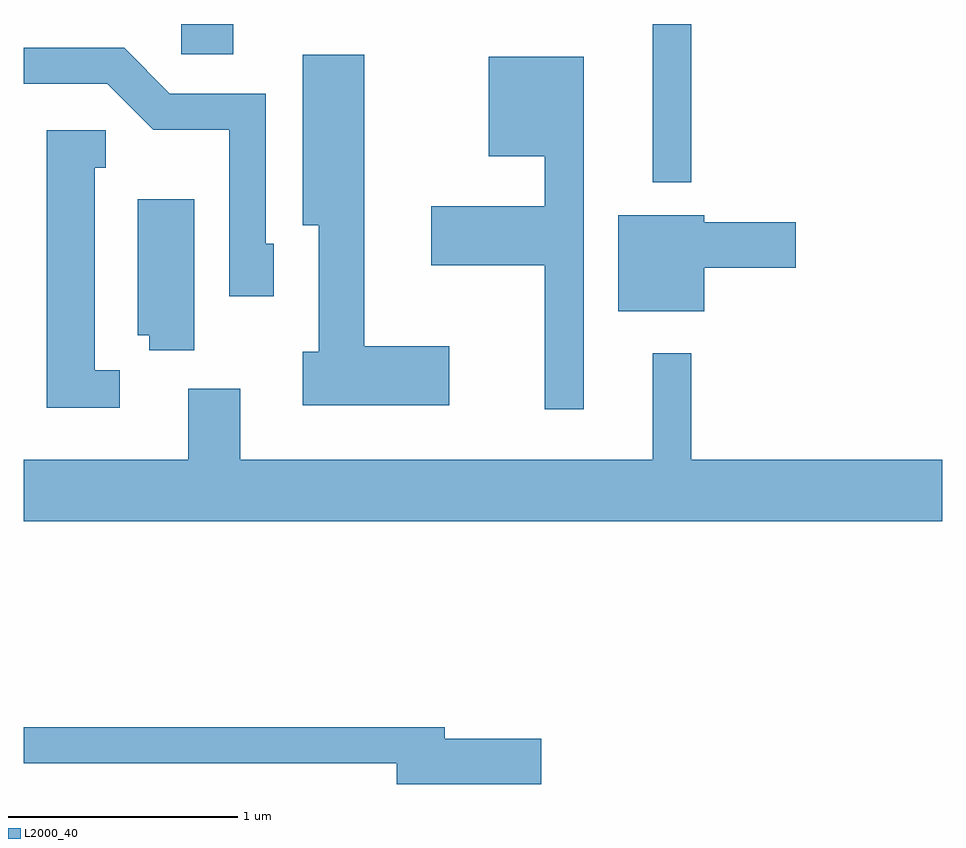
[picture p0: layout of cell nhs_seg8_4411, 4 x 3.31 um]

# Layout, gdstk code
import gdstk
lib = gdstk.Library(unit=1e-6, precision=1e-09)
def R(c, l, rs):  # rectangles x0, y0, x1, y1
    for r in rs: c.add(gdstk.rectangle(r[:2], r[2:], *l))
def P(c, l, *ps):  # polygons
    for p in ps: c.add(gdstk.Polygon(p, *l))
L2000_40 = (2000, 40)

nhs_seg8_4411 = lib.new_cell('nhs_seg8_4411')
R(nhs_seg8_4411, L2000_40, [(320.351,1855.653,320.519,1856.342), (318.296,1856.211,318.524,1856.342)])
P(nhs_seg8_4411, L2000_40, [(318.699,1855.384),(318.664,1855.384),(318.664,1856.039),(318.247,1856.039),(318.047,1856.239),(317.611,1856.239),(317.611,1856.081),(317.974,1856.081),(318.174,1855.881),(318.506,1855.881),(318.506,1855.156),(318.699,1855.156)],
  [(319.464,1854.939),(319.094,1854.939),(319.094,1856.209),(318.826,1856.209),(318.826,1855.466),(318.896,1855.466),(318.896,1854.914),(318.826,1854.914),(318.826,1854.681),(319.464,1854.681)],
  [(320.049,1856.199),(319.636,1856.199),(319.636,1855.766),(319.881,1855.766),(319.881,1855.549),(319.386,1855.549),(319.386,1855.291),(319.881,1855.291),(319.881,1854.663),(320.049,1854.663)],
  [(318.028,1854.834),(317.919,1854.834),(317.919,1855.716),(317.968,1855.716),(317.968,1855.879),(317.711,1855.879),(317.711,1854.671),(318.028,1854.671)],
  [(318.354,1855.579),(318.106,1855.579),(318.106,1854.986),(318.156,1854.986),(318.156,1854.921),(318.354,1854.921)],
  [(320.574,1855.281),(320.974,1855.281),(320.974,1855.479),(320.574,1855.479),(320.574,1855.509),(320.201,1855.509),(320.201,1855.091),(320.574,1855.091)],
  [(321.611,1854.444),(320.519,1854.444),(320.519,1854.908),(320.351,1854.908),(320.351,1854.444),(318.554,1854.444),(318.554,1854.754),(318.326,1854.754),(318.326,1854.444),(317.611,1854.444),(317.611,1854.176),(321.611,1854.176)],
  [(319.864,1853.229),(319.444,1853.229),(319.444,1853.279),(317.611,1853.279),(317.611,1853.121),(319.236,1853.121),(319.236,1853.031),(319.864,1853.031)])

lib.write_gds('nhs_seg8_4411.gds')
